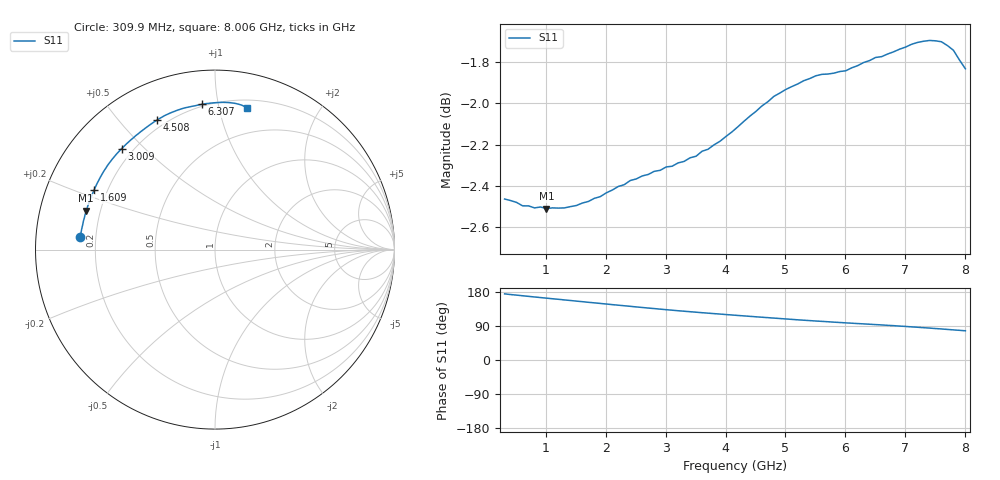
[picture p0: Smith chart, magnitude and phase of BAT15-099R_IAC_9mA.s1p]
! Infineon Technologies  Discrete & RF Semiconductors
! BAT15-099R
! IAC = 9 mA
! One-Port S-Parameters
# Hz  S  MA  R  50
!f  S11
!Hz  Mag  Ang
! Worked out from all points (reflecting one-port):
!   78 points, 309.9 MHz to 8.006 GHz, reference 50 ohm
!   lowest |S11| = -2.5 dB at 1.01 GHz (marker M1), VSWR 6.97, Z = 7.33 + j7.21 ohm
!   phase of S11 starts at 175 deg and turns -97 deg over the sweep
!   S11 on the Smith chart (normalised r, x): 309.9 MHz: 0.14, +0.05; 1.609 GHz: 0.15, +0.23; 3.009 GHz: 0.16, +0.43; 4.508 GHz: 0.17, +0.64; 6.307 GHz: 0.19, +0.89; 8.006 GHz: 0.27, +1.22
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3.0985e8  0.753 174.5
4.098e8  0.7523 172.7
7.0965e8  0.7501 167.9
1.0095e9  0.749 163.2
1.30935e9  0.7492 158.5
1.6092e9  0.7513 153.9
2.009e9  0.7556 147.7
2.30885e9  0.759 143.1
2.4088e9  0.7608 141.7
2.70865e9  0.7634 137.1
3.0085e9  0.7666 132.8
3.2084e9  0.7683 130.0
3.6082e9  0.7733 124.8
4.2079e9  0.7841 117.5
4.50775e9  0.7908 114.0
4.8076e9  0.7975 110.6
5.2074e9  0.8031 106.0
5.50725e9  0.8067 102.9
6.007e9  0.809 98.0
6.10695e9  0.8103 97.1
6.30685e9  0.8127 95.3
6.8066e9  0.8176 90.6
7.10645e9  0.821 87.4
7.4063e9  0.8228 84.2
7.50625e9  0.8227 83.0
7.6062e9  0.8222 81.9
7.8061e9  0.8183 79.4
8.006e9  0.8099 77.1
